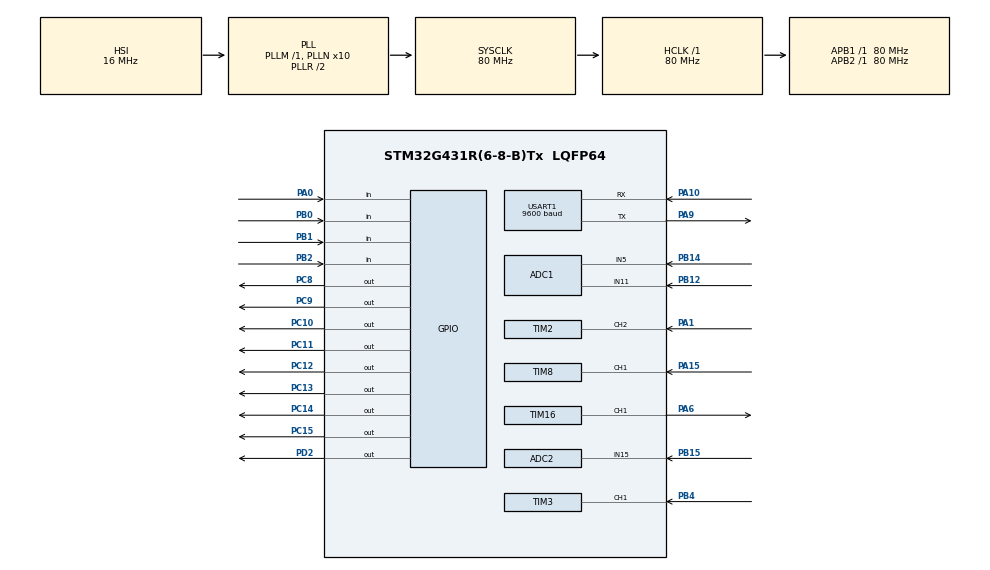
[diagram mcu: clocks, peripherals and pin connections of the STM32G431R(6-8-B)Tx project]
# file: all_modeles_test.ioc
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ADC1.Channel-0\#ChannelRegularConversion=ADC_CHANNEL_11
ADC1.Channel-1\#ChannelRegularConversion=ADC_CHANNEL_5
ADC1.ClockPrescaler=ADC_CLOCK_ASYNC_DIV128
ADC1.ContinuousConvMode=DISABLE
ADC1.NbrOfConversion=2
ADC1.NbrOfConversionFlag=1
ADC1.OffsetNumber-0\#ChannelRegularConversion=ADC_OFFSET_NONE
ADC1.OffsetNumber-1\#ChannelRegularConversion=ADC_OFFSET_NONE
ADC1.Rank-0\#ChannelRegularConversion=1
ADC1.Rank-1\#ChannelRegularConversion=2
ADC1.SamplingTime-0\#ChannelRegularConversion=ADC_SAMPLETIME_640CYCLES_5
ADC1.SamplingTime-1\#ChannelRegularConversion=ADC_SAMPLETIME_640CYCLES_5
ADC1.master=1
ADC2.Channel-0\#ChannelRegularConversion=ADC_CHANNEL_15
ADC2.ClockPrescaler=ADC_CLOCK_ASYNC_DIV128
ADC2.ContinuousConvMode=ENABLE
ADC2.DMAContinuousRequests=ENABLE
ADC2.NbrOfConversionFlag=1
ADC2.OffsetNumber-0\#ChannelRegularConversion=ADC_OFFSET_NONE
ADC2.Rank-0\#ChannelRegularConversion=1
ADC2.SamplingTime-0\#ChannelRegularConversion=ADC_SAMPLETIME_2CYCLES_5
Dma.ADC2.0.Direction=DMA_PERIPH_TO_MEMORY
Dma.ADC2.0.EventEnable=DISABLE
Dma.ADC2.0.Instance=DMA1_Channel1
Dma.ADC2.0.MemDataAlignment=DMA_MDATAALIGN_HALFWORD
Dma.ADC2.0.MemInc=DMA_MINC_ENABLE
Dma.ADC2.0.Mode=DMA_CIRCULAR
Dma.ADC2.0.PeriphDataAlignment=DMA_PDATAALIGN_HALFWORD
Dma.ADC2.0.PeriphInc=DMA_PINC_DISABLE
Dma.ADC2.0.Polarity=HAL_DMAMUX_REQ_GEN_RISING
Dma.ADC2.0.Priority=DMA_PRIORITY_LOW
Dma.ADC2.0.RequestNumber=1
Dma.ADC2.0.SignalID=NONE
Dma.ADC2.0.SyncEnable=DISABLE
Dma.ADC2.0.SyncPolarity=HAL_DMAMUX_SYNC_NO_EVENT
Dma.ADC2.0.SyncRequestNumber=1
Dma.ADC2.0.SyncSignalID=NONE
Dma.Request0=ADC2
Mcu.Family=STM32G4
Mcu.Name=STM32G431R(6-8-B)Tx
Mcu.Package=LQFP64
NVIC.DMA1_Channel1_IRQn=true\:0\:0\:false\:false\:true\:false\:true\:true
NVIC.PriorityGroup=NVIC_PRIORITYGROUP_4
NVIC.RTC_Alarm_IRQn=true\:0\:0\:false\:false\:true\:true\:true\:true
NVIC.TIM1_BRK_TIM15_IRQn=true\:3\:0\:true\:false\:true\:true\:true\:true
NVIC.TIM2_IRQn=true\:0\:0\:false\:false\:true\:true\:true\:true
NVIC.TIM3_IRQn=true\:4\:0\:true\:false\:true\:true\:true\:true
NVIC.TIM7_IRQn=true\:1\:0\:true\:false\:true\:true\:true\:true
NVIC.TIM8_CC_IRQn=true\:4\:0\:true\:false\:true\:true\:true\:true
NVIC.USART1_IRQn=true\:2\:0\:true\:false\:true\:true\:true\:true
PA0.GPIO_PuPd=GPIO_PULLUP
PA0.Signal=GPIO_Input
PA1.Signal=S_TIM2_CH2
PA10.Mode=Asynchronous
PA10.Signal=USART1_RX
PA13.Mode=Serial_Wire
PA13.Signal=SYS_JTMS-SWDIO
PA14.Mode=Serial_Wire
PA14.Signal=SYS_JTCK-SWCLK
PA15.Signal=S_TIM8_CH1
PA6.Signal=S_TIM16_CH1
PA9.Mode=Asynchronous
PA9.Signal=USART1_TX
PB0.GPIO_PuPd=GPIO_PULLUP
PB0.Signal=GPIO_Input
PB1.GPIO_PuPd=GPIO_PULLUP
PB1.Signal=GPIO_Input
PB12.Mode=IN11-Single-Ended
PB12.Signal=ADC1_IN11
PB14.Mode=IN5-Single-Ended
PB14.Signal=ADC1_IN5
PB15.Mode=IN15-Single-Ended
PB15.Signal=ADC2_IN15
PB2.GPIO_PuPd=GPIO_PULLUP
PB2.Signal=GPIO_Input
PB4.Signal=S_TIM3_CH1
PC10.PinState=GPIO_PIN_SET
PC10.Signal=GPIO_Output
PC11.PinState=GPIO_PIN_SET
PC11.Signal=GPIO_Output
PC12.PinState=GPIO_PIN_SET
PC12.Signal=GPIO_Output
PC13.PinState=GPIO_PIN_SET
PC13.Signal=GPIO_Output
PC14-OSC32_IN.PinState=GPIO_PIN_SET
PC14-OSC32_IN.Signal=GPIO_Output
PC15-OSC32_OUT.PinState=GPIO_PIN_SET
PC15-OSC32_OUT.Signal=GPIO_Output
PC8.PinState=GPIO_PIN_SET
PC8.Signal=GPIO_Output
PC9.PinState=GPIO_PIN_SET
PC9.Signal=GPIO_Output
PD2.PinState=GPIO_PIN_SET
PD2.Signal=GPIO_Output
PF0-OSC_IN.Mode=HSE-External-Oscillator
PF0-OSC_IN.Signal=RCC_OSC_IN
PF1-OSC_OUT.Mode=HSE-External-Oscillator
PF1-OSC_OUT.Signal=RCC_OSC_OUT
ProjectManager.HeapSize=0x200
ProjectManager.StackSize=0x400
ProjectManager.TargetToolchain=MDK-ARM V5.32
RCC.ADC12Freq_Value=80000000
RCC.AHBFreq_Value=80000000
RCC.APB1Freq_Value=80000000
RCC.APB1TimFreq_Value=80000000
RCC.APB2Freq_Value=80000000
RCC.APB2TimFreq_Value=80000000
RCC.CortexFreq_Value=80000000
RCC.EXTERNAL_CLOCK_VALUE=12288000
RCC.HCLKFreq_Value=80000000
RCC.HSE_VALUE=24000000
RCC.HSI48_VALUE=48000000
RCC.HSI_VALUE=16000000
RCC.LSE_VALUE=32768
RCC.PLLN=10
RCC.SYSCLKFreq_VALUE=80000000
RCC.SYSCLKSource=RCC_SYSCLKSOURCE_PLLCLK
RCC.USBFreq_Value=80000000
RCC.VCOOutputFreq_Value=160000000
RTC.Alarm-Alarm\ A=RTC_ALARM_A
RTC.AlarmMaskDateWeekDay-Alarm\ A=RTC_ALARMMASK_DATEWEEKDAY
RTC.AlarmMaskDateWeekDay_B-Alarm\ B=RTC_ALARMMASK_DATEWEEKDAY
RTC.AlarmMaskHours-Alarm\ A=RTC_ALARMMASK_HOURS
RTC.AlarmMaskHours_B-Alarm\ B=RTC_ALARMMASK_HOURS
RTC.AlarmMaskMinutes_B-Alarm\ B=RTC_ALARMMASK_MINUTES
RTC.Alarm_B-Alarm\ B=RTC_ALARM_B
RTC.Date=6
RTC.Format=RTC_FORMAT_BIN
RTC.Hours=13
RTC.Hours_A-Alarm\ A=13
RTC.Hours_B-Alarm\ B=13
RTC.Minutes=30
RTC.Minutes_A-Alarm\ A=30
RTC.Minutes_B-Alarm\ B=30
RTC.Month=RTC_MONTH_APRIL
RTC.Seconds=30
RTC.Seconds_A-Alarm\ A=50
RTC.Seconds_B-Alarm\ B=40
RTC.WeekDay=RTC_WEEKDAY_SUNDAY
RTC.Year=25
SH.S_TIM16_CH1.0=TIM16_CH1,PWM Generation1 CH1
SH.S_TIM2_CH2.0=TIM2_CH2,Input_Capture2_from_TI2
SH.S_TIM3_CH1.0=TIM3_CH1,Input_Capture1_from_TI1
SH.S_TIM8_CH1.0=TIM8_CH1,Input_Capture1_from_TI1
TIM15.PeriodNoDither=1000-1
TIM15.Prescaler=800-1
TIM16.Channel=TIM_CHANNEL_1
TIM16.PeriodNoDither=1000-1
TIM16.Prescaler=80-1
TIM2.Channel-Input_Capture1_from_TI2_63=TIM_CHANNEL_1
TIM2.Channel-Input_Capture2_from_TI2=TIM_CHANNEL_2
TIM2.ICPolarity_CH1=TIM_INPUTCHANNELPOLARITY_FALLING
TIM2.PeriodNoDither=65535
TIM2.Prescaler=80-1
TIM3.AutoReloadPreload=TIM_AUTORELOAD_PRELOAD_DISABLE
TIM3.Channel-Input_Capture1_from_TI1=TIM_CHANNEL_1
TIM3.Channel-Input_Capture2_from_TI1_63=TIM_CHANNEL_2
TIM3.ICPolarity_CH1=TIM_INPUTCHANNELPOLARITY_FALLING
TIM3.Prescaler=80-1
TIM7.PeriodNoDither=1000-1
TIM7.Prescaler=80-1
TIM8.Channel-Input_Capture1_from_TI1=TIM_CHANNEL_1
TIM8.Channel-Input_Capture2_from_TI1_63=TIM_CHANNEL_2
TIM8.ICPolarity_CH1=TIM_INPUTCHANNELPOLARITY_FALLING
TIM8.Prescaler=80-1
USART1.BaudRate=9600
USART1.VirtualMode-Asynchronous=VM_ASYNC
VP_RTC_VS_RTC_Activate.Mode=RTC_Enabled
VP_RTC_VS_RTC_Alarm_A_Intern.Mode=Alarm A
VP_RTC_VS_RTC_Alarm_B_Intern.Mode=Alarm B
VP_RTC_VS_RTC_Calendar.Mode=RTC_Calendar
VP_SYS_VS_DBSignals.Mode=DisableDeadBatterySignals
VP_TIM15_VS_ClockSourceINT.Mode=Internal
VP_TIM16_VS_ClockSourceINT.Mode=Enable_Timer
VP_TIM2_VS_indirect_ch2.Mode=Input_Capture1_from_TI2_63
VP_TIM3_VS_indirect_ch1.Mode=Input_Capture2_from_TI1_63
VP_TIM7_VS_ClockSourceINT.Mode=Enable_Timer
VP_TIM8_VS_indirect_ch1.Mode=Input_Capture2_from_TI1_63
board=custom

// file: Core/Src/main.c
/* USER CODE BEGIN Header */
/**
  ******************************************************************************
  * @file           : main.c
  * @brief          : Main program body
  ******************************************************************************
  * @attention
  *
  * Copyright (c) 2025 STMicroelectronics.
  * All rights reserved.
  *
  * This software is licensed under terms that can be found in the LICENSE file
  * in the root directory of this software component.
  * If no LICENSE file comes with this software, it is provided AS-IS.
  *
  ******************************************************************************
  */
/* USER CODE END Header */
#include "main.h"
#include "adc.h"
#include "dma.h"
#include "rtc.h"
#include "tim.h"
#include "usart.h"
#include "gpio.h"

/* USER CODE BEGIN Includes */
#include "headfile.h"
/* USER CODE END Includes */

void SystemClock_Config(void);

int main(void)
{

  /* MCU Configuration--------------------------------------------------------*/

  /* Reset of all peripherals, Initializes the Flash interface and the Systick. */
  HAL_Init();

  /* Configure the system clock */
  SystemClock_Config();

  /* Initialize all configured peripherals */
  MX_GPIO_Init();
  MX_DMA_Init();
  MX_TIM7_Init();
  MX_TIM15_Init();
  MX_USART1_UART_Init();
  MX_ADC2_Init();
  MX_ADC1_Init();
  MX_TIM3_Init();
  MX_TIM8_Init();
  MX_TIM2_Init();
  MX_TIM16_Init();
  MX_RTC_Init();
  /* USER CODE BEGIN 2 */
  HAL_GPIO_WritePin(GPIOD, GPIO_PIN_2, GPIO_PIN_RESET);
  led_show(1,0);
  led_show(2,0);
  led_show(3,0);
  led_show(4,0);
  led_show(5,0);
  led_show(6,0);
  led_show(7,0);
  led_show(8,0);

  led_show(1,1);

  HAL_TIM_Base_Start_IT(&htim7);

  HAL_UART_Receive_IT(&huart1,&rx_data,1);

  HAL_ADCEx_Calibration_Start(&hadc1,ADC_SINGLE_ENDED);
  HAL_ADCEx_Calibration_Start(&hadc2,ADC_SINGLE_ENDED);

  __HAL_TIM_SetAutoreload(&htim16,1000000.0f/(2000-1));
  __HAL_TIM_SetCompare(&htim16,TIM_CHANNEL_1,((1000000.0f/2000)*0.35f)-1);
  __HAL_TIM_SetCounter(&htim16,0);
  HAL_TIM_PWM_Start_IT(&htim16,TIM_CHANNEL_1);

  HAL_TIM_OC_Start_IT(&htim3,TIM_CHANNEL_1);
  HAL_TIM_OC_Start_IT(&htim3,TIM_CHANNEL_2);

  HAL_TIM_OC_Start_IT(&htim8,TIM_CHANNEL_1);
  HAL_TIM_OC_Start_IT(&htim8,TIM_CHANNEL_2);

  HAL_TIM_OC_Start_IT(&htim2,TIM_CHANNEL_1);
  HAL_TIM_OC_Start_IT(&htim2,TIM_CHANNEL_2);

  HAL_ADC_Start_DMA(&hadc2,(uint32_t *)&r37_value,1);

  LCD_Init();
  LCD_Clear(Black);
  LCD_SetBackColor(Black);
  LCD_SetTextColor(White);

  I2CInit();
  eepom_ctrl();
  /* USER CODE END 2 */

  /* Infinite loop */
  /* USER CODE BEGIN WHILE */
  while (1)
  {
    while_fun();
    /* USER CODE END WHILE */

  }
}

void SystemClock_Config(void)
{
  RCC_OscInitTypeDef RCC_OscInitStruct = {0};
  RCC_ClkInitTypeDef RCC_ClkInitStruct = {0};

  /** Configure the main internal regulator output voltage
  */
  HAL_PWREx_ControlVoltageScaling(PWR_REGULATOR_VOLTAGE_SCALE1);

  /** Initializes the RCC Oscillators according to the specified parameters
  * in the RCC_OscInitTypeDef structure.
  */
  RCC_OscInitStruct.OscillatorType = RCC_OSCILLATORTYPE_HSI|RCC_OSCILLATORTYPE_LSI;
  RCC_OscInitStruct.HSIState = RCC_HSI_ON;
  RCC_OscInitStruct.HSICalibrationValue = RCC_HSICALIBRATION_DEFAULT;
  RCC_OscInitStruct.LSIState = RCC_LSI_ON;
  RCC_OscInitStruct.PLL.PLLState = RCC_PLL_ON;
  RCC_OscInitStruct.PLL.PLLSource = RCC_PLLSOURCE_HSI;
  RCC_OscInitStruct.PLL.PLLM = RCC_PLLM_DIV1;
  RCC_OscInitStruct.PLL.PLLN = 10;
  RCC_OscInitStruct.PLL.PLLP = RCC_PLLP_DIV2;
  RCC_OscInitStruct.PLL.PLLQ = RCC_PLLQ_DIV2;
  RCC_OscInitStruct.PLL.PLLR = RCC_PLLR_DIV2;
  if (HAL_RCC_OscConfig(&RCC_OscInitStruct) != HAL_OK)
  {
    Error_Handler();
  }

  /** Initializes the CPU, AHB and APB buses clocks
  */
  RCC_ClkInitStruct.ClockType = RCC_CLOCKTYPE_HCLK|RCC_CLOCKTYPE_SYSCLK
                              |RCC_CLOCKTYPE_PCLK1|RCC_CLOCKTYPE_PCLK2;
  RCC_ClkInitStruct.SYSCLKSource = RCC_SYSCLKSOURCE_PLLCLK;
  RCC_ClkInitStruct.AHBCLKDivider = RCC_SYSCLK_DIV1;
  RCC_ClkInitStruct.APB1CLKDivider = RCC_HCLK_DIV1;
  RCC_ClkInitStruct.APB2CLKDivider = RCC_HCLK_DIV1;

  if (HAL_RCC_ClockConfig(&RCC_ClkInitStruct, FLASH_LATENCY_2) != HAL_OK)
  {
    Error_Handler();
  }
}

void Error_Handler(void)
{
  __disable_irq();
  while (1)
  {
  }
}
